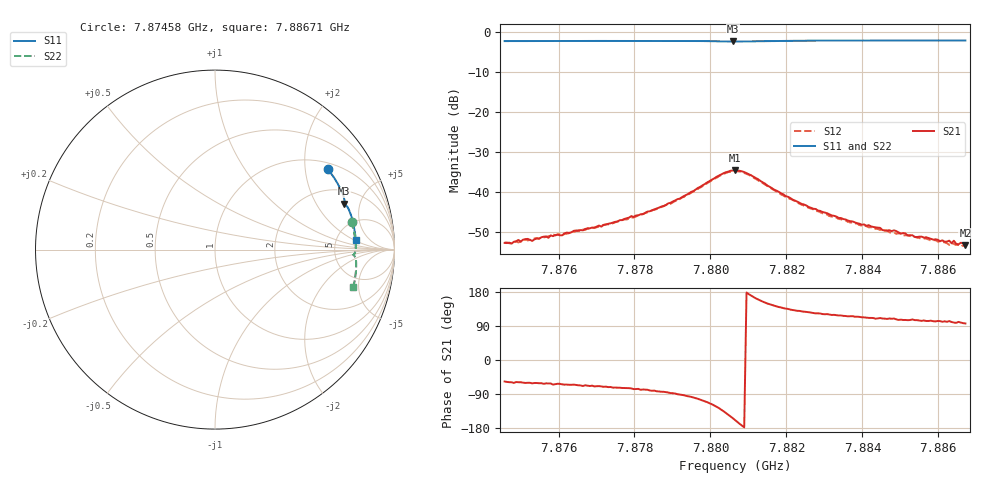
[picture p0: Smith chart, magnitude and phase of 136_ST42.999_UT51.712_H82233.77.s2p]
#  HZ  S  DB  R  50.00
! Rohde & Schwarz Vector Network Analyzer
! Rohde-Schwarz,ZNB20-2Port,1311601062101988,3.16
! Created: UTC 1/12/2023, 6:39:24 PM
! freq[Hz]  db:S11  ang:S11  db:S21  ang:S21  db:S12  ang:S12  db:S22  ang:S22
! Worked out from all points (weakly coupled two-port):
!   201 points, 7.87458 GHz to 7.88671 GHz, reference 50 ohm
!   highest |S21| = -34.58 dB at 7.88065 GHz (marker M1); lowest = -53.2 dB at 7.88671 GHz (marker M2)
!   lowest |S11| = -2.3 dB at 7.88059 GHz (marker M3), VSWR 7.46, Z = 145 + j177 ohm
!   |S11| at or under -10 dB: nowhere
!   |S22| runs from -2.3 to -2.0 dB; largest |S21 - S12| = 0.0012
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7.874581e9  -2.25 35.5  -52.69 -56.7  -52.60 -59.7  -2.20 11.5
7.874763e9  -2.24 35.0  -52.86 -58.7  -52.72 -61.7  -2.20 11.1
7.875187e9  -2.23 33.9  -51.67 -60.2  -52.05 -63.4  -2.18 10.1
7.875309e9  -2.23 33.5  -52.17 -61.6  -51.90 -63.5  -2.18 9.8
7.876643e9  -2.21 29.9  -49.54 -68.7  -49.31 -71.2  -2.15 6.6
7.877977e9  -2.20 26.3  -46.20 -76.8  -46.34 -79.4  -2.11 3.4
7.878644e9  -2.20 24.4  -43.87 -83.0  -43.98 -86.2  -2.11 1.9
7.87919e9  -2.20 22.8  -41.61 -91.1  -41.73 -94.2  -2.11 0.5
7.880221e9  -2.30 20.1  -35.86 -126.8  -36.00 -130.7  -2.20 -1.8
7.880585e9  -2.34 19.6  -34.58 -153.4  -34.79 -157.0  -2.25 -2.2
7.880646e9  -2.34 19.5  -34.58 -158.5  -34.72 -161.8  -2.25 -2.2
7.881071e9  -2.29 19.0  -35.78 169.9  -35.98 166.7  -2.19 -2.5
7.881859e9  -2.19 16.9  -40.30 138.7  -40.57 135.4  -2.08 -4.2
7.882708e9  -2.14 14.5  -44.15 123.9  -44.28 121.4  -2.03 -6.2
7.883982e9  -2.12 11.1  -48.12 112.8  -48.34 110.2  -1.99 -9.1
7.88471e9  -2.11 9.2  -49.52 109.6  -50.02 106.0  -1.99 -10.7
7.885377e9  -2.10 7.5  -51.17 105.2  -51.14 101.8  -1.97 -12.1
7.886287e9  -2.09 5.1  -52.11 102.7  -53.14 98.6  -1.96 -14.1
7.886347e9  -2.08 4.9  -52.77 100.3  -52.66 97.4  -1.97 -14.2
7.886408e9  -2.09 4.8  -52.13 98.8  -52.95 96.2  -1.96 -14.4
7.886469e9  -2.09 4.6  -52.90 98.0  -53.19 97.1  -1.96 -14.5
7.886711e9  -2.09 4.0  -53.21 96.4  -53.49 96.8  -1.96 -15.0
